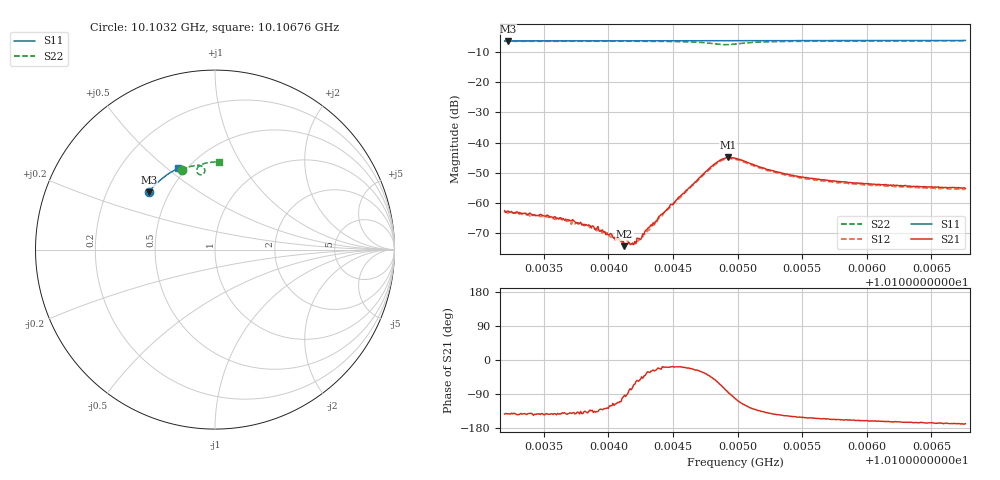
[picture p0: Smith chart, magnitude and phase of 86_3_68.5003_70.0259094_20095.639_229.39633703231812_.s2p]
#  HZ  S  RI  R  50.00
! Rohde & Schwarz Vector Network Analyzer
! Rohde-Schwarz,ZNB20-2Port,1311601062101988,3.16
! Created: UTC 3/20/2024, 4:52:22 PM
! freq[Hz]  re:S11  im:S11  re:S21  im:S21  re:S12  im:S12  re:S22  im:S22
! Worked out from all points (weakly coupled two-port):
!   401 points, 10.1032 GHz to 10.10676 GHz, reference 50 ohm
!   highest |S21| = -44.98 dB at 10.10493 GHz (marker M1); lowest = -74.5 dB at 10.10412 GHz (marker M2)
!   lowest |S11| = -6.2 dB at 10.10322 GHz (marker M3), VSWR 2.91, Z = 19.2 + j16.2 ohm
!   |S11| at or under -10 dB: nowhere
!   |S22| runs from -7.4 to -6.2 dB; largest |S21 - S12| = 0.00059
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1.0103197e10  -0.3705 0.3192  -0.000583 -0.000446  -0.000523 -0.000455  -0.1862 0.4439
1.0103224e10  -0.3694 0.3203  -0.00057 -0.000452  -0.000489 -0.000459  -0.1844 0.4447
1.0103536e10  -0.3573 0.3352  -0.000481 -0.000364  -0.000399 -0.000397  -0.1648 0.4531
1.0103714e10  -0.3502 0.3433  -0.000387 -0.000315  -0.000298 -0.000315  -0.1535 0.4574
1.0103794e10  -0.3469 0.347  -0.000333 -0.000264  -0.000288 -0.00034  -0.148 0.4593
1.0103937e10  -0.3411 0.3533  -0.000214 -0.000257  -0.000185 -0.000289  -0.1382 0.4625
1.0104098e10  -0.3342 0.3603  -8.1e-05 -0.000219  -2.24e-05 -0.000226  -0.1265 0.4656
1.0104124e10  -0.333 0.3614  -9.67e-06 -0.000189  2.23e-05 -0.000191  -0.1243 0.4662
1.0104196e10  -0.33 0.3646  8.09e-05 -0.000182  8.58e-05 -0.000184  -0.1188 0.4674
1.0104213e10  -0.3291 0.3654  0.000113 -0.000175  8.94e-05 -0.00019  -0.1174 0.4677
1.0104258e10  -0.3273 0.3672  0.000187 -0.000183  0.000208 -0.000172  -0.1137 0.4684
1.0104303e10  -0.3254 0.3692  0.000312 -0.000189  0.000293 -0.000184  -0.1099 0.4691
1.0104356e10  -0.323 0.3713  0.000386 -0.000214  0.000402 -0.000155  -0.1052 0.4694
1.0104392e10  -0.3214 0.3729  0.000548 -0.000221  0.000524 -0.000172  -0.1019 0.4697
1.0104793e10  -0.3031 0.3889  0.00279 -0.00274  0.00289 -0.00237  -0.0568 0.4428
1.0104864e10  -0.2998 0.3917  0.0022 -0.00457  0.0025 -0.00417  -0.0629 0.4243
1.0104927e10  -0.297 0.3939  0.00048 -0.00562  0.000951 -0.00529  -0.0807 0.4171
1.010498e10  -0.2946 0.3958  -0.0011 -0.00538  -0.000614 -0.00524  -0.0948 0.4236
1.0105328e10  -0.2781 0.4091  -0.0026 -0.00183  -0.00231 -0.00192  -0.0819 0.4706
1.0105578e10  -0.2658 0.4178  -0.00226 -0.00115  -0.00205 -0.00129  -0.0609 0.4794
1.0106175e10  -0.2352 0.4374  -0.00185 -0.000569  -0.00173 -0.000708  -0.0175 0.4874
1.0106763e10  -0.2039 0.4545  -0.0017 -0.000359  -0.0016 -0.000505  0.0222 0.4892
